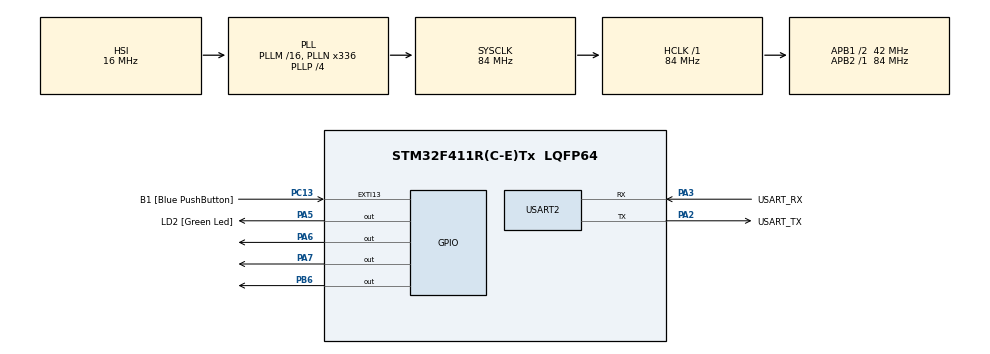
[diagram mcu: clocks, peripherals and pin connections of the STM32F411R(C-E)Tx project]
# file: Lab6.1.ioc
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FREERTOS.Mutexes01=myMutex01,Dynamic,NULL
FREERTOS.Tasks01=defaultTask,0,128,StartDefaultTask,Default,NULL,Dynamic,NULL,NULL;myTask02,0,128,StartTask02,Default,NULL,Dynamic,NULL,NULL;myTask03,0,128,StartTask03,Default,NULL,Dynamic,NULL,NULL;myTask04,0,128,StartTask04,Default,NULL,Dynamic,NULL,NULL;myTask05,0,128,StartTask05,Default,NULL,Dynamic,NULL,NULL;myTask06,0,128,StartTask06,Default,NULL,Dynamic,NULL,NULL
Mcu.Family=STM32F4
Mcu.Name=STM32F411R(C-E)Tx
Mcu.Package=LQFP64
NVIC.PriorityGroup=NVIC_PRIORITYGROUP_4
PA13.GPIO_Label=TMS
PA13.Mode=Serial_Wire
PA13.Signal=SYS_JTMS-SWDIO
PA14.GPIO_Label=TCK
PA14.Mode=Serial_Wire
PA14.Signal=SYS_JTCK-SWCLK
PA2.GPIO_Label=USART_TX
PA2.Mode=Asynchronous
PA2.Signal=USART2_TX
PA3.GPIO_Label=USART_RX
PA3.Mode=Asynchronous
PA3.Signal=USART2_RX
PA5.GPIO_Label=LD2 [Green Led]
PA5.Signal=GPIO_Output
PA6.Signal=GPIO_Output
PA7.Signal=GPIO_Output
PB3.GPIO_Label=SWO
PB3.Signal=SYS_JTDO-SWO
PB6.Signal=GPIO_Output
PC13-ANTI_TAMP.GPIO_Label=B1 [Blue PushButton]
PC13-ANTI_TAMP.GPIO_ModeDefaultEXTI=GPIO_MODE_IT_FALLING
PC13-ANTI_TAMP.Signal=GPXTI13
PC14-OSC32_IN.Mode=LSE-External-Oscillator
PC14-OSC32_IN.Signal=RCC_OSC32_IN
PC15-OSC32_OUT.Mode=LSE-External-Oscillator
PC15-OSC32_OUT.Signal=RCC_OSC32_OUT
PH0\ -\ OSC_IN.Mode=HSE-External-Clock-Source
PH0\ -\ OSC_IN.Signal=RCC_OSC_IN
PH1\ -\ OSC_OUT.Mode=HSE-External-Clock-Source
PH1\ -\ OSC_OUT.Signal=RCC_OSC_OUT
ProjectManager.HeapSize=0x200
ProjectManager.StackSize=0x400
ProjectManager.TargetToolchain=STM32CubeIDE
RCC.48MHZClocksFreq_Value=84000000
RCC.AHBFreq_Value=84000000
RCC.APB1CLKDivider=RCC_HCLK_DIV2
RCC.APB1Freq_Value=42000000
RCC.APB1TimFreq_Value=84000000
RCC.APB2Freq_Value=84000000
RCC.APB2TimFreq_Value=84000000
RCC.CortexFreq_Value=84000000
RCC.FLatency-AdvancedSettings=FLASH_LATENCY_2
RCC.HCLKFreq_Value=84000000
RCC.HSE_VALUE=8000000
RCC.HSI_VALUE=16000000
RCC.PLLN=336
RCC.PLLP=RCC_PLLP_DIV4
RCC.SYSCLKFreq_VALUE=84000000
RCC.SYSCLKSource=RCC_SYSCLKSOURCE_PLLCLK
RCC.VCOOutputFreq_Value=336000000
USART2.VirtualMode=VM_ASYNC
VP_FREERTOS_VS_CMSIS_V1.Mode=CMSIS_V1
board=NUCLEO-F411RE

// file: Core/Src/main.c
/* USER CODE BEGIN Header */
/**
  ******************************************************************************
  * @file           : main.c
  * @brief          : Main program body
  ******************************************************************************
  * @attention
  *
  * Copyright (c) 2023 STMicroelectronics.
  * All rights reserved.
  *
  * This software is licensed under terms that can be found in the LICENSE file
  * in the root directory of this software component.
  * If no LICENSE file comes with this software, it is provided AS-IS.
  *
  ******************************************************************************
  */
/* USER CODE END Header */
#include "main.h"
#include "cmsis_os.h"

UART_HandleTypeDef huart2;

osThreadId defaultTaskHandle;
osThreadId myTask02Handle;
osThreadId myTask03Handle;
osThreadId myTask04Handle;
osThreadId myTask05Handle;
osThreadId myTask06Handle;
osMutexId myMutex01Handle;

void SystemClock_Config(void);
static void MX_GPIO_Init(void);
static void MX_USART2_UART_Init(void);
void StartDefaultTask(void const * argument);
void StartTask02(void const * argument);
void StartTask03(void const * argument);
void StartTask04(void const * argument);
void StartTask05(void const * argument);
void StartTask06(void const * argument);

int main(void)
{

  /* MCU Configuration--------------------------------------------------------*/

  /* Reset of all peripherals, Initializes the Flash interface and the Systick. */
  HAL_Init();

  /* Configure the system clock */
  SystemClock_Config();

  /* Initialize all configured peripherals */
  MX_GPIO_Init();
  MX_USART2_UART_Init();

  /* Create the mutex(es) */
  /* definition and creation of myMutex01 */
  osMutexDef(myMutex01);
  myMutex01Handle = osMutexCreate(osMutex(myMutex01));

  /* Create the thread(s) */
  /* definition and creation of defaultTask */
  osThreadDef(defaultTask, StartDefaultTask, osPriorityNormal, 0, 128);
  defaultTaskHandle = osThreadCreate(osThread(defaultTask), NULL);

  /* definition and creation of myTask02 */
  osThreadDef(myTask02, StartTask02, osPriorityNormal, 0, 128);
  myTask02Handle = osThreadCreate(osThread(myTask02), NULL);

  /* definition and creation of myTask03 */
  osThreadDef(myTask03, StartTask03, osPriorityNormal, 0, 128);
  myTask03Handle = osThreadCreate(osThread(myTask03), NULL);

  /* definition and creation of myTask04 */
  osThreadDef(myTask04, StartTask04, osPriorityNormal, 0, 128);
  myTask04Handle = osThreadCreate(osThread(myTask04), NULL);

  /* definition and creation of myTask05 */
  osThreadDef(myTask05, StartTask05, osPriorityNormal, 0, 128);
  myTask05Handle = osThreadCreate(osThread(myTask05), NULL);

  /* definition and creation of myTask06 */
  osThreadDef(myTask06, StartTask06, osPriorityNormal, 0, 128);
  myTask06Handle = osThreadCreate(osThread(myTask06), NULL);

  /* Start scheduler */
  osKernelStart();

  /* We should never get here as control is now taken by the scheduler */
  /* Infinite loop */
  while (1)
  {

  }
}

void SystemClock_Config(void)
{
  RCC_OscInitTypeDef RCC_OscInitStruct = {0};
  RCC_ClkInitTypeDef RCC_ClkInitStruct = {0};

  /** Configure the main internal regulator output voltage
  */
  __HAL_RCC_PWR_CLK_ENABLE();
  __HAL_PWR_VOLTAGESCALING_CONFIG(PWR_REGULATOR_VOLTAGE_SCALE1);

  /** Initializes the RCC Oscillators according to the specified parameters
  * in the RCC_OscInitTypeDef structure.
  */
  RCC_OscInitStruct.OscillatorType = RCC_OSCILLATORTYPE_HSI;
  RCC_OscInitStruct.HSIState = RCC_HSI_ON;
  RCC_OscInitStruct.HSICalibrationValue = RCC_HSICALIBRATION_DEFAULT;
  RCC_OscInitStruct.PLL.PLLState = RCC_PLL_ON;
  RCC_OscInitStruct.PLL.PLLSource = RCC_PLLSOURCE_HSI;
  RCC_OscInitStruct.PLL.PLLM = 16;
  RCC_OscInitStruct.PLL.PLLN = 336;
  RCC_OscInitStruct.PLL.PLLP = RCC_PLLP_DIV4;
  RCC_OscInitStruct.PLL.PLLQ = 4;
  if (HAL_RCC_OscConfig(&RCC_OscInitStruct) != HAL_OK)
  {
    Error_Handler();
  }

  /** Initializes the CPU, AHB and APB buses clocks
  */
  RCC_ClkInitStruct.ClockType = RCC_CLOCKTYPE_HCLK|RCC_CLOCKTYPE_SYSCLK
                              |RCC_CLOCKTYPE_PCLK1|RCC_CLOCKTYPE_PCLK2;
  RCC_ClkInitStruct.SYSCLKSource = RCC_SYSCLKSOURCE_PLLCLK;
  RCC_ClkInitStruct.AHBCLKDivider = RCC_SYSCLK_DIV1;
  RCC_ClkInitStruct.APB1CLKDivider = RCC_HCLK_DIV2;
  RCC_ClkInitStruct.APB2CLKDivider = RCC_HCLK_DIV1;

  if (HAL_RCC_ClockConfig(&RCC_ClkInitStruct, FLASH_LATENCY_2) != HAL_OK)
  {
    Error_Handler();
  }
}

static void MX_USART2_UART_Init(void)
{

  huart2.Instance = USART2;
  huart2.Init.BaudRate = 115200;
  huart2.Init.WordLength = UART_WORDLENGTH_8B;
  huart2.Init.StopBits = UART_STOPBITS_1;
  huart2.Init.Parity = UART_PARITY_NONE;
  huart2.Init.Mode = UART_MODE_TX_RX;
  huart2.Init.HwFlowCtl = UART_HWCONTROL_NONE;
  huart2.Init.OverSampling = UART_OVERSAMPLING_16;
  if (HAL_UART_Init(&huart2) != HAL_OK)
  {
    Error_Handler();
  }

}

static void MX_GPIO_Init(void)
{
  GPIO_InitTypeDef GPIO_InitStruct = {0};

  /* GPIO Ports Clock Enable */
  __HAL_RCC_GPIOC_CLK_ENABLE();
  __HAL_RCC_GPIOH_CLK_ENABLE();
  __HAL_RCC_GPIOA_CLK_ENABLE();
  __HAL_RCC_GPIOB_CLK_ENABLE();

  /*Configure GPIO pin Output Level */
  HAL_GPIO_WritePin(GPIOA, LD2_Pin|GPIO_PIN_6|GPIO_PIN_7, GPIO_PIN_RESET);

  /*Configure GPIO pin Output Level */
  HAL_GPIO_WritePin(GPIOB, GPIO_PIN_6, GPIO_PIN_RESET);

  /*Configure GPIO pin : B1_Pin */
  GPIO_InitStruct.Pin = B1_Pin;
  GPIO_InitStruct.Mode = GPIO_MODE_IT_FALLING;
  GPIO_InitStruct.Pull = GPIO_NOPULL;
  HAL_GPIO_Init(B1_GPIO_Port, &GPIO_InitStruct);

  /*Configure GPIO pins : LD2_Pin PA6 PA7 */
  GPIO_InitStruct.Pin = LD2_Pin|GPIO_PIN_6|GPIO_PIN_7;
  GPIO_InitStruct.Mode = GPIO_MODE_OUTPUT_PP;
  GPIO_InitStruct.Pull = GPIO_NOPULL;
  GPIO_InitStruct.Speed = GPIO_SPEED_FREQ_LOW;
  HAL_GPIO_Init(GPIOA, &GPIO_InitStruct);

  /*Configure GPIO pin : PB6 */
  GPIO_InitStruct.Pin = GPIO_PIN_6;
  GPIO_InitStruct.Mode = GPIO_MODE_OUTPUT_PP;
  GPIO_InitStruct.Pull = GPIO_NOPULL;
  GPIO_InitStruct.Speed = GPIO_SPEED_FREQ_LOW;
  HAL_GPIO_Init(GPIOB, &GPIO_InitStruct);

}

void StartDefaultTask(void const * argument)
{
  /* USER CODE BEGIN 5 */
  /* Infinite loop */
  for(;;)
  {
	HAL_GPIO_TogglePin(GPIOA, GPIO_PIN_5);
    osDelay(50);
  }
  /* USER CODE END 5 */
}

void StartTask02(void const * argument)
{
  /* USER CODE BEGIN StartTask02 */
  /* Infinite loop */
  for(;;)
  {
	HAL_GPIO_TogglePin(GPIOA, GPIO_PIN_6);
    osDelay(18);
  }
  /* USER CODE END StartTask02 */
}

void StartTask03(void const * argument)
{
  /* USER CODE BEGIN StartTask03 */
  /* Infinite loop */
  for(;;)
  {
	HAL_GPIO_TogglePin(GPIOA, GPIO_PIN_7);
    osDelay(128);
  }
  /* USER CODE END StartTask03 */
}

void StartTask04(void const * argument)
{
  /* USER CODE BEGIN StartTask04 */
  /* Infinite loop */
  for(;;)
  {
	HAL_GPIO_TogglePin(GPIOB, GPIO_PIN_6);
    osDelay(64);
  }
  /* USER CODE END StartTask04 */
}

void StartTask05(void const * argument)
{
  /* USER CODE BEGIN StartTask05 */
	int threadID = 0; // threadID is 0 for one thread and 1 for another
	int idx = 0;
	char buffer[32];
	while(1) {
	sprintf(buffer, "TID: %d %d\r\n", threadID, idx);
	idx ++;
	osMutexWait(myMutex01Handle, osWaitForever);
	HAL_UART_Transmit(&huart2, buffer, strlen(buffer), 1000);
	osMutexRelease(myMutex01Handle);
	}

  /* Infinite loop */

  /* USER CODE END StartTask05 */
}

void StartTask06(void const * argument)
{
  /* USER CODE BEGIN StartTask06 */
	int threadID = 1; // threadID is 0 for one thread and 1 for another
	int idx = 0;
	char buffer[32];
	while(1) {
	sprintf(buffer, "TID: %d %d\r\n", threadID, idx);
	idx ++;
	osMutexWait(myMutex01Handle, osWaitForever);
	HAL_UART_Transmit(&huart2, buffer, strlen(buffer), 1000);
	osMutexRelease(myMutex01Handle);
	}

  /* Infinite loop */

  /* USER CODE END StartTask06 */
}

void Error_Handler(void)
{
  __disable_irq();
  while (1)
  {
  }
}
